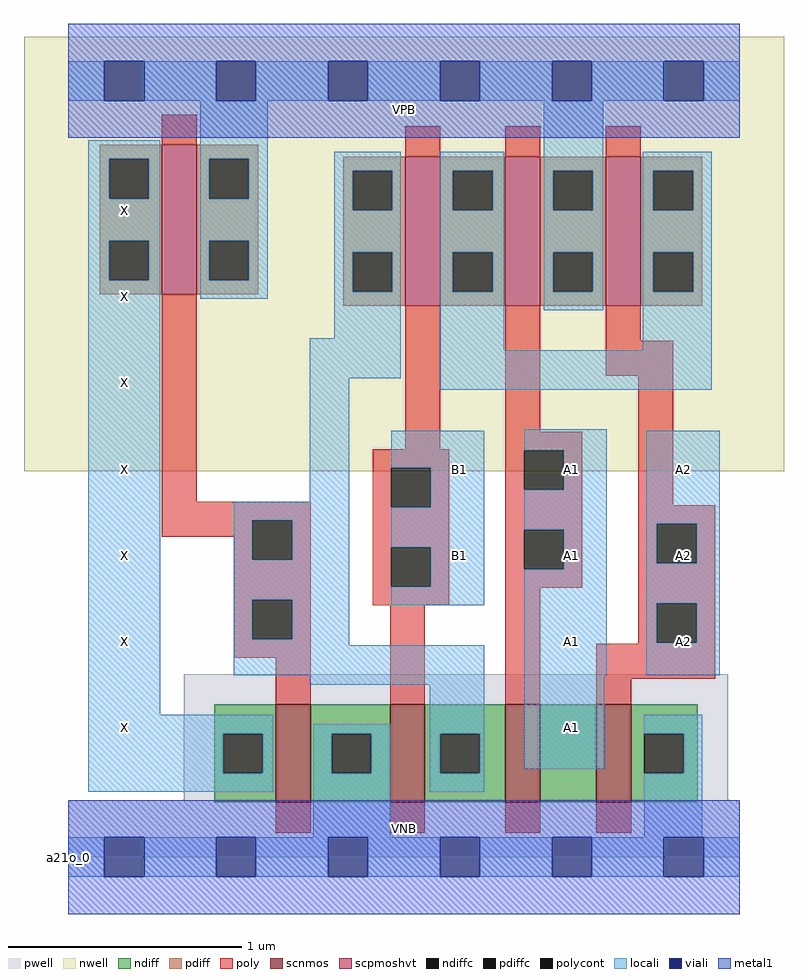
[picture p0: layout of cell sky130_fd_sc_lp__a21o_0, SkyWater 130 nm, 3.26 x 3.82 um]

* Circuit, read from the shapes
.subckt sky130_fd_sc_lp__a21o_0 A1 A2 B1 VGND VNB VPB VPWR X
XM1 VGND n1 X VNB sky130_fd_pr__nfet_01v8 w=0.42 l=0.15
XM2 n1 B1 VGND VNB sky130_fd_pr__nfet_01v8 w=0.42 l=0.15
XM3 n2 A1 n1 VNB sky130_fd_pr__nfet_01v8 w=0.42 l=0.15
XM4 VGND A2 n2 VNB sky130_fd_pr__nfet_01v8 w=0.42 l=0.15
XM5 VPWR n1 X VPB sky130_fd_pr__pfet_01v8_hvt w=0.64 l=0.15
XM6 n3 B1 n1 VPB sky130_fd_pr__pfet_01v8_hvt w=0.64 l=0.15
XM7 VPWR A1 n3 VPB sky130_fd_pr__pfet_01v8_hvt w=0.64 l=0.15
XM8 n3 A2 VPWR VPB sky130_fd_pr__pfet_01v8_hvt w=0.64 l=0.15
.ends

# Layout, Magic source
magic
tech sky130A
magscale 1 2
<< nwell >>
rect -38 331 614 704
<< pwell >>
rect 99 49 566 157
rect 0 0 576 49
<< scnmos >>
rect 178 47 208 131
rect 276 47 306 131
rect 375 47 405 131
rect 453 47 483 131
<< scpmoshvt >>
rect 80 483 110 611
rect 289 473 319 601
rect 375 473 405 601
rect 461 473 491 601
<< ndiff >>
rect 125 106 178 131
rect 125 72 133 106
rect 167 72 178 106
rect 125 47 178 72
rect 208 106 276 131
rect 208 72 226 106
rect 260 72 276 106
rect 208 47 276 72
rect 306 106 375 131
rect 306 72 319 106
rect 353 72 375 106
rect 306 47 375 72
rect 405 47 453 131
rect 483 106 540 131
rect 483 72 494 106
rect 528 72 540 106
rect 483 47 540 72
<< pdiff >>
rect 27 599 80 611
rect 27 565 35 599
rect 69 565 80 599
rect 27 529 80 565
rect 27 495 35 529
rect 69 495 80 529
rect 27 483 80 495
rect 110 599 163 611
rect 110 565 121 599
rect 155 565 163 599
rect 110 529 163 565
rect 110 495 121 529
rect 155 495 163 529
rect 110 483 163 495
rect 236 589 289 601
rect 236 555 244 589
rect 278 555 289 589
rect 236 519 289 555
rect 236 485 244 519
rect 278 485 289 519
rect 236 473 289 485
rect 319 589 375 601
rect 319 555 330 589
rect 364 555 375 589
rect 319 519 375 555
rect 319 485 330 519
rect 364 485 375 519
rect 319 473 375 485
rect 405 589 461 601
rect 405 555 416 589
rect 450 555 461 589
rect 405 519 461 555
rect 405 485 416 519
rect 450 485 461 519
rect 405 473 461 485
rect 491 589 544 601
rect 491 555 502 589
rect 536 555 544 589
rect 491 519 544 555
rect 491 485 502 519
rect 536 485 544 519
rect 491 473 544 485
<< ndiffc >>
rect 133 72 167 106
rect 226 72 260 106
rect 319 72 353 106
rect 494 72 528 106
<< pdiffc >>
rect 35 565 69 599
rect 35 495 69 529
rect 121 565 155 599
rect 121 495 155 529
rect 244 555 278 589
rect 244 485 278 519
rect 330 555 364 589
rect 330 485 364 519
rect 416 555 450 589
rect 416 485 450 519
rect 502 555 536 589
rect 502 485 536 519
<< poly >>
rect 80 611 110 637
rect 289 601 319 627
rect 375 601 405 627
rect 461 601 491 627
rect 80 305 110 483
rect 289 350 319 473
rect 375 365 405 473
rect 461 443 491 473
rect 461 413 519 443
rect 261 334 327 350
rect 80 289 208 305
rect 80 275 158 289
rect 142 255 158 275
rect 192 255 208 289
rect 142 221 208 255
rect 142 187 158 221
rect 192 187 208 221
rect 261 300 277 334
rect 311 300 327 334
rect 261 266 327 300
rect 261 232 277 266
rect 311 232 327 266
rect 261 216 327 232
rect 375 349 441 365
rect 375 315 391 349
rect 425 315 441 349
rect 375 281 441 315
rect 375 247 391 281
rect 425 247 441 281
rect 375 231 441 247
rect 489 302 519 413
rect 489 286 555 302
rect 489 252 505 286
rect 539 252 555 286
rect 142 171 208 187
rect 178 131 208 171
rect 276 131 306 216
rect 375 131 405 231
rect 489 218 555 252
rect 489 184 505 218
rect 539 184 555 218
rect 489 183 555 184
rect 453 153 555 183
rect 453 131 483 153
rect 178 21 208 47
rect 276 21 306 47
rect 375 21 405 47
rect 453 21 483 47
<< polycont >>
rect 158 255 192 289
rect 158 187 192 221
rect 277 300 311 334
rect 277 232 311 266
rect 391 315 425 349
rect 391 247 425 281
rect 505 252 539 286
rect 505 184 539 218
<< locali >>
rect 0 649 31 683
rect 65 649 127 683
rect 161 649 223 683
rect 257 649 319 683
rect 353 649 415 683
rect 449 649 511 683
rect 545 649 576 683
rect 17 599 79 615
rect 17 565 35 599
rect 69 565 79 599
rect 17 529 79 565
rect 17 495 35 529
rect 69 495 79 529
rect 17 122 79 495
rect 113 599 171 649
rect 113 565 121 599
rect 155 565 171 599
rect 113 529 171 565
rect 113 495 121 529
rect 155 495 171 529
rect 113 479 171 495
rect 228 589 285 605
rect 228 555 244 589
rect 278 555 285 589
rect 228 519 285 555
rect 228 485 244 519
rect 278 485 285 519
rect 228 445 285 485
rect 207 411 285 445
rect 319 589 374 605
rect 319 555 330 589
rect 364 555 374 589
rect 319 519 374 555
rect 319 485 330 519
rect 364 485 374 519
rect 319 435 374 485
rect 408 589 459 649
rect 408 555 416 589
rect 450 555 459 589
rect 408 519 459 555
rect 408 485 416 519
rect 450 485 459 519
rect 408 469 459 485
rect 493 589 552 605
rect 493 555 502 589
rect 536 555 552 589
rect 493 519 552 555
rect 493 485 502 519
rect 536 485 552 519
rect 493 435 552 485
rect 207 305 241 411
rect 319 401 552 435
rect 142 289 241 305
rect 142 255 158 289
rect 192 255 241 289
rect 142 221 241 255
rect 142 187 158 221
rect 192 187 241 221
rect 277 334 357 366
rect 311 300 357 334
rect 277 266 357 300
rect 311 232 357 266
rect 277 216 357 232
rect 391 349 462 367
rect 425 315 462 349
rect 391 281 462 315
rect 425 247 462 281
rect 142 182 241 187
rect 142 156 357 182
rect 207 148 357 156
rect 17 106 176 122
rect 17 72 133 106
rect 167 72 176 106
rect 17 56 176 72
rect 210 106 276 114
rect 210 72 226 106
rect 260 72 276 106
rect 210 17 276 72
rect 310 106 357 148
rect 310 72 319 106
rect 353 72 357 106
rect 391 156 462 247
rect 496 286 559 366
rect 496 252 505 286
rect 539 252 559 286
rect 496 218 559 252
rect 496 184 505 218
rect 539 184 559 218
rect 496 156 559 184
rect 391 76 460 156
rect 494 106 544 122
rect 310 56 357 72
rect 528 72 544 106
rect 494 17 544 72
rect 0 -17 31 17
rect 65 -17 127 17
rect 161 -17 223 17
rect 257 -17 319 17
rect 353 -17 415 17
rect 449 -17 511 17
rect 545 -17 576 17
<< viali >>
rect 31 649 65 683
rect 127 649 161 683
rect 223 649 257 683
rect 319 649 353 683
rect 415 649 449 683
rect 511 649 545 683
rect 31 -17 65 17
rect 127 -17 161 17
rect 223 -17 257 17
rect 319 -17 353 17
rect 415 -17 449 17
rect 511 -17 545 17
<< metal1 >>
rect 0 683 576 715
rect 0 649 31 683
rect 65 649 127 683
rect 161 649 223 683
rect 257 649 319 683
rect 353 649 415 683
rect 449 649 511 683
rect 545 649 576 683
rect 0 617 576 649
rect 0 17 576 49
rect 0 -17 31 17
rect 65 -17 127 17
rect 161 -17 223 17
rect 257 -17 319 17
rect 353 -17 415 17
rect 449 -17 511 17
rect 545 -17 576 17
rect 0 -49 576 -17
<< labels >>
flabel pwell s 0 0 576 49 0 FreeSans 200 0 0 0 VNB
port 5 nsew ground bidirectional
flabel nwell s 0 617 576 666 0 FreeSans 200 0 0 0 VPB
port 6 nsew power bidirectional
rlabel comment s 0 0 0 0 4 a21o_0
flabel metal1 s 0 617 576 666 0 FreeSans 340 0 0 0 VPWR
port 7 nsew power bidirectional
flabel metal1 s 0 0 576 49 0 FreeSans 340 0 0 0 VGND
port 4 nsew ground bidirectional
flabel locali s 415 94 449 128 0 FreeSans 340 0 0 0 A1
port 1 nsew signal input
flabel locali s 415 168 449 202 0 FreeSans 340 0 0 0 A1
port 1 nsew signal input
flabel locali s 415 242 449 276 0 FreeSans 340 0 0 0 A1
port 1 nsew signal input
flabel locali s 415 316 449 350 0 FreeSans 340 0 0 0 A1
port 1 nsew signal input
flabel locali s 511 168 545 202 0 FreeSans 340 0 0 0 A2
port 2 nsew signal input
flabel locali s 511 242 545 276 0 FreeSans 340 0 0 0 A2
port 2 nsew signal input
flabel locali s 511 316 545 350 0 FreeSans 340 0 0 0 A2
port 2 nsew signal input
flabel locali s 319 242 353 276 0 FreeSans 340 0 0 0 B1
port 3 nsew signal input
flabel locali s 319 316 353 350 0 FreeSans 340 0 0 0 B1
port 3 nsew signal input
flabel locali s 31 94 65 128 0 FreeSans 340 0 0 0 X
port 8 nsew signal output
flabel locali s 31 168 65 202 0 FreeSans 340 0 0 0 X
port 8 nsew signal output
flabel locali s 31 242 65 276 0 FreeSans 340 0 0 0 X
port 8 nsew signal output
flabel locali s 31 316 65 350 0 FreeSans 340 0 0 0 X
port 8 nsew signal output
flabel locali s 31 390 65 424 0 FreeSans 340 0 0 0 X
port 8 nsew signal output
flabel locali s 31 464 65 498 0 FreeSans 340 0 0 0 X
port 8 nsew signal output
flabel locali s 31 538 65 572 0 FreeSans 340 0 0 0 X
port 8 nsew signal output
<< properties >>
string LEFsite unit
string LEFclass CORE
string FIXED_BBOX 0 0 576 666
string GDS_FILE $PDKPATH/libs.ref/sky130_fd_sc_lp/gds/sky130_fd_sc_lp.gds
string LEFsymmetry X Y R90
string GDS_END 2590256
string GDS_START 2583124
<< end >>
